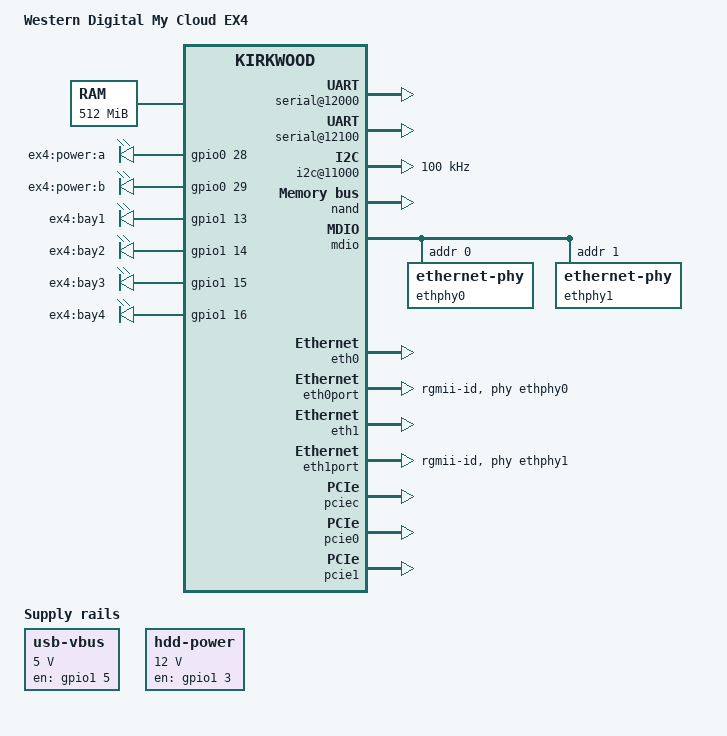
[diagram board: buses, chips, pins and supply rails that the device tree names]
// SPDX-License-Identifier: (GPL-2.0+ OR MIT)
/*
 * Device tree for the Western Digital My Cloud EX4 (codename "Lightning",
 * LT4A) for mainline Linux.
 *
 * STATUS: DRAFT, NOT YET BOOTED. Values come from WD's GPL kernel
 * (mvBoardEnvSpec.{c,h}, board "RD-88F6282-A" as customised by WD) and from
 * reverse engineering of the vendor userspace (docs/hardware/). Items marked
 * TODO need the Stage 0 report (tools/stage0/inventory.sh) from a real unit.
 *
 * Hardware summary:
 *   SoC   Marvell 88F6282 (Kirkwood, Feroceon ARMv5TE)
 *   RAM   512 MiB (confirmed by Stage 0)
 *   NAND  Samsung 256 MiB, 128 KiB blocks (confirmed; layout below)
 *   SATA  all 4 bays on a PCIe Marvell 88SX7042 (sata_mv PCI driver,
 *         confirmed); the SoC's own SATA ports are unused
 *   USB   on-chip EHCI + Etron EJ168 xHCI (1b6f:7023) on PCIe port 1
 *   NET   2x GbE RGMII, PHYs at SMI addresses 0 and 1
 *   UART0 console 115200 8N1; UART1 front-panel MCU (19200 8N1, see
 *         docs/hardware/mcu-protocol.md). Fan, OLED, buttons and RTC live
 *         behind the MCU, so they are driven from userspace by moodd.
 *   I2C0  0x72: bay power (reg 1 bits 7-4) / presence (reg 0 bits 3-0, active
 *         low) — custom device, accessed from userspace via i2c-dev.
 */

/dts-v1/;

#include <dt-bindings/gpio/gpio.h>
#include <dt-bindings/leds/common.h>
#include "kirkwood.dtsi"
#include "kirkwood-6282.dtsi"

/ {
	model = "Western Digital My Cloud EX4";
	compatible = "wd,mycloud-ex4", "marvell,kirkwood-88f6282", "marvell,kirkwood";

	memory@0 {
		device_type = "memory";
		reg = <0x00000000 0x20000000>; /* TODO: confirm 512 MiB */
	};

	chosen {
		bootargs = "console=ttyS0,115200n8";
		stdout-path = &uart0;
	};

	ocp@f1000000 {
		pinctrl: pin-controller@10000 {
			/* MPP values from RD_88F6282A_MPP*: TODO translate into pin groups */
		};

		serial@12000 {
			status = "okay";
		};

		/* front-panel MCU */
		serial@12100 {
			status = "okay";
		};

		i2c@11000 {
			status = "okay";
			clock-frequency = <100000>;
		};

		/* bays are on the PCIe 88SX7042, not on the SoC's SATA ports */
		sata@80000 {
			status = "disabled";
		};
	};

	gpio-leds {
		compatible = "gpio-leds";

		/* GPIO 28/29: power LED colours. Which is blue and which is red is TODO. */
		led-power-a {
			label = "ex4:power:a";
			gpios = <&gpio0 28 GPIO_ACTIVE_HIGH>;
			default-state = "on";
		};
		led-power-b {
			label = "ex4:power:b";
			gpios = <&gpio0 29 GPIO_ACTIVE_HIGH>;
			default-state = "off";
		};

		/* GPIO 45-48: drive status LEDs, bays 1-4 (polarity TODO) */
		led-bay1 {
			label = "ex4:bay1";
			gpios = <&gpio1 13 GPIO_ACTIVE_HIGH>;
		};
		led-bay2 {
			label = "ex4:bay2";
			gpios = <&gpio1 14 GPIO_ACTIVE_HIGH>;
		};
		led-bay3 {
			label = "ex4:bay3";
			gpios = <&gpio1 15 GPIO_ACTIVE_HIGH>;
		};
		led-bay4 {
			label = "ex4:bay4";
			gpios = <&gpio1 16 GPIO_ACTIVE_HIGH>;
		};
	};

	regulator-usb-vbus {
		compatible = "regulator-fixed";
		regulator-name = "usb-vbus";
		regulator-min-microvolt = <5000000>;
		regulator-max-microvolt = <5000000>;
		gpio = <&gpio1 5 GPIO_ACTIVE_HIGH>; /* GPIO 37 */
		enable-active-high;
		regulator-always-on;
	};

	regulator-hdd-power {
		compatible = "regulator-fixed";
		regulator-name = "hdd-power";
		regulator-min-microvolt = <12000000>;
		regulator-max-microvolt = <12000000>;
		gpio = <&gpio1 3 GPIO_ACTIVE_HIGH>; /* GPIO 35 */
		enable-active-high;
		regulator-always-on;
	};
};

&nand {
	status = "okay";
	chip-delay = <40>;

	partitions {
		compatible = "fixed-partitions";
		#address-cells = <1>;
		#size-cells = <1>;
		/*
		 * Layout confirmed on a real unit (Stage 0). Everything read-only
		 * until a serial-console recovery path exists.
		 */
		partition@0 { label = "u-boot"; reg = <0x0000000 0x0100000>; read-only; };
		partition@100000 { label = "uImage"; reg = <0x0100000 0x0500000>; read-only; };
		partition@600000 { label = "ramdisk"; reg = <0x0600000 0x0500000>; read-only; };
		partition@b00000 { label = "image"; reg = <0x0b00000 0xcd00000>; read-only; };
		partition@d800000 { label = "reserve"; reg = <0xd800000 0x0500000>; read-only; };
		partition@dd00000 { label = "rescue"; reg = <0xdd00000 0x0f00000>; read-only; };
		partition@ec00000 { label = "config"; reg = <0xec00000 0x1400000>; read-only; };
	};
};

&mdio {
	status = "okay";

	ethphy0: ethernet-phy@0 {
		reg = <0>;
	};

	ethphy1: ethernet-phy@1 {
		reg = <1>;
	};
};

&eth0 {
	status = "okay";
};

&eth0port {
	phy-handle = <&ethphy0>;
	phy-connection-type = "rgmii-id";
};

&eth1 {
	status = "okay";
};

&eth1port {
	phy-handle = <&ethphy1>;
	phy-connection-type = "rgmii-id";
};

&pciec {
	status = "okay";
};

&pcie0 {
	status = "okay";
};

&pcie1 {
	status = "okay";
};
